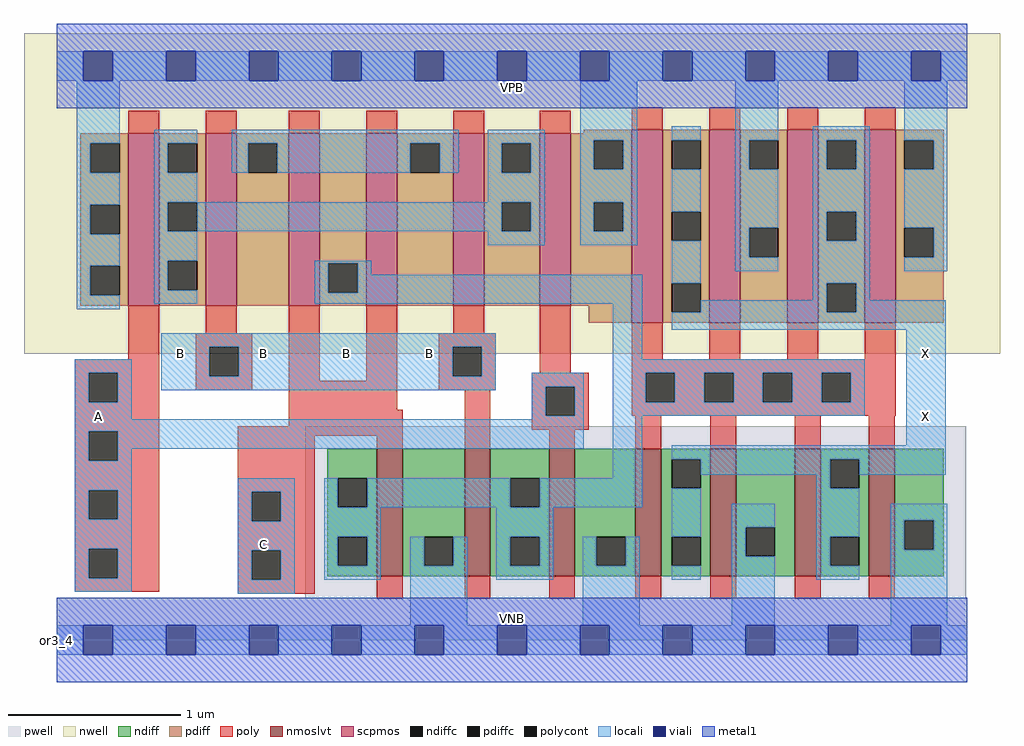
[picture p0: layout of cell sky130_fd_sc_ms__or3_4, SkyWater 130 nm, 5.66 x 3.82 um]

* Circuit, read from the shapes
.subckt sky130_fd_sc_ms__or3_4 A B C VGND VNB VPB VPWR X
XM1 VGND C n1 VNB sky130_fd_pr__nfet_01v8_lvt w=0.74 l=0.15
XM2 n1 B VGND VNB sky130_fd_pr__nfet_01v8_lvt w=0.74 l=0.15
XM3 VGND A n1 VNB sky130_fd_pr__nfet_01v8_lvt w=0.74 l=0.15
XM4 X n1 VGND VNB sky130_fd_pr__nfet_01v8_lvt w=0.74 l=0.15 m=4
XM5 n2 A VPWR VPB sky130_fd_pr__pfet_01v8 w=1 l=0.18 m=2
XM6 n3 B n2 VPB sky130_fd_pr__pfet_01v8 w=1 l=0.18 m=2
XM7 n1 C n3 VPB sky130_fd_pr__pfet_01v8 w=1 l=0.18 m=2
XM8 X n1 VPWR VPB sky130_fd_pr__pfet_01v8 w=1.12 l=0.18 m=4
.ends

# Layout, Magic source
magic
tech sky130A
magscale 1 2
<< nwell >>
rect -38 332 1094 704
<< pwell >>
rect 288 49 1055 248
rect 0 0 1056 49
<< scpmos >>
rect 83 388 119 588
rect 173 388 209 588
rect 269 388 305 588
rect 359 388 395 588
rect 460 388 496 588
rect 560 388 596 588
rect 667 368 703 592
rect 757 368 793 592
rect 847 368 883 592
rect 937 368 973 592
<< nmoslvt >>
rect 371 74 401 222
rect 473 74 503 222
rect 571 74 601 222
rect 671 74 701 222
rect 758 74 788 222
rect 856 74 886 222
rect 942 74 972 222
<< ndiff >>
rect 314 188 371 222
rect 314 154 326 188
rect 360 154 371 188
rect 314 120 371 154
rect 314 86 326 120
rect 360 86 371 120
rect 314 74 371 86
rect 401 120 473 222
rect 401 86 426 120
rect 460 86 473 120
rect 401 74 473 86
rect 503 188 571 222
rect 503 154 526 188
rect 560 154 571 188
rect 503 120 571 154
rect 503 86 526 120
rect 560 86 571 120
rect 503 74 571 86
rect 601 120 671 222
rect 601 86 626 120
rect 660 86 671 120
rect 601 74 671 86
rect 701 210 758 222
rect 701 176 713 210
rect 747 176 758 210
rect 701 120 758 176
rect 701 86 713 120
rect 747 86 758 120
rect 701 74 758 86
rect 788 131 856 222
rect 788 97 799 131
rect 833 97 856 131
rect 788 74 856 97
rect 886 210 942 222
rect 886 176 897 210
rect 931 176 942 210
rect 886 120 942 176
rect 886 86 897 120
rect 931 86 942 120
rect 886 74 942 86
rect 972 139 1029 222
rect 972 105 983 139
rect 1017 105 1029 139
rect 972 74 1029 105
<< pdiff >>
rect 611 588 667 592
rect 27 576 83 588
rect 27 542 39 576
rect 73 542 83 576
rect 27 505 83 542
rect 27 471 39 505
rect 73 471 83 505
rect 27 434 83 471
rect 27 400 39 434
rect 73 400 83 434
rect 27 388 83 400
rect 119 576 173 588
rect 119 542 129 576
rect 163 542 173 576
rect 119 508 173 542
rect 119 474 129 508
rect 163 474 173 508
rect 119 440 173 474
rect 119 406 129 440
rect 163 406 173 440
rect 119 388 173 406
rect 209 576 269 588
rect 209 542 222 576
rect 256 542 269 576
rect 209 388 269 542
rect 305 437 359 588
rect 305 403 315 437
rect 349 403 359 437
rect 305 388 359 403
rect 395 576 460 588
rect 395 542 410 576
rect 444 542 460 576
rect 395 388 460 542
rect 496 576 560 588
rect 496 542 516 576
rect 550 542 560 576
rect 496 508 560 542
rect 496 474 516 508
rect 550 474 560 508
rect 496 388 560 474
rect 596 580 667 588
rect 596 546 623 580
rect 657 546 667 580
rect 596 508 667 546
rect 596 474 623 508
rect 657 474 667 508
rect 596 388 667 474
rect 617 368 667 388
rect 703 580 757 592
rect 703 546 713 580
rect 747 546 757 580
rect 703 497 757 546
rect 703 463 713 497
rect 747 463 757 497
rect 703 414 757 463
rect 703 380 713 414
rect 747 380 757 414
rect 703 368 757 380
rect 793 580 847 592
rect 793 546 803 580
rect 837 546 847 580
rect 793 478 847 546
rect 793 444 803 478
rect 837 444 847 478
rect 793 368 847 444
rect 883 580 937 592
rect 883 546 893 580
rect 927 546 937 580
rect 883 497 937 546
rect 883 463 893 497
rect 927 463 937 497
rect 883 414 937 463
rect 883 380 893 414
rect 927 380 937 414
rect 883 368 937 380
rect 973 580 1029 592
rect 973 546 983 580
rect 1017 546 1029 580
rect 973 478 1029 546
rect 973 444 983 478
rect 1017 444 1029 478
rect 973 368 1029 444
<< ndiffc >>
rect 326 154 360 188
rect 326 86 360 120
rect 426 86 460 120
rect 526 154 560 188
rect 526 86 560 120
rect 626 86 660 120
rect 713 176 747 210
rect 713 86 747 120
rect 799 97 833 131
rect 897 176 931 210
rect 897 86 931 120
rect 983 105 1017 139
<< pdiffc >>
rect 39 542 73 576
rect 39 471 73 505
rect 39 400 73 434
rect 129 542 163 576
rect 129 474 163 508
rect 129 406 163 440
rect 222 542 256 576
rect 315 403 349 437
rect 410 542 444 576
rect 516 542 550 576
rect 516 474 550 508
rect 623 546 657 580
rect 623 474 657 508
rect 713 546 747 580
rect 713 463 747 497
rect 713 380 747 414
rect 803 546 837 580
rect 803 444 837 478
rect 893 546 927 580
rect 893 463 927 497
rect 893 380 927 414
rect 983 546 1017 580
rect 983 444 1017 478
<< poly >>
rect 83 588 119 614
rect 173 588 209 614
rect 269 588 305 614
rect 359 588 395 614
rect 460 588 496 614
rect 560 588 596 614
rect 667 592 703 618
rect 757 592 793 618
rect 847 592 883 618
rect 937 592 973 618
rect 83 326 119 388
rect 173 356 209 388
rect 21 310 119 326
rect 21 276 37 310
rect 71 276 119 310
rect 161 340 227 356
rect 161 306 177 340
rect 211 306 227 340
rect 161 290 227 306
rect 269 301 305 388
rect 359 301 395 388
rect 460 356 496 388
rect 21 242 119 276
rect 269 267 395 301
rect 443 340 509 356
rect 443 306 459 340
rect 493 306 509 340
rect 560 310 596 388
rect 667 326 703 368
rect 757 326 793 368
rect 847 326 883 368
rect 937 326 973 368
rect 667 310 973 326
rect 443 290 509 306
rect 551 294 617 310
rect 269 248 401 267
rect 21 208 37 242
rect 71 208 119 242
rect 21 174 119 208
rect 21 140 37 174
rect 71 140 119 174
rect 21 106 119 140
rect 21 72 37 106
rect 71 72 119 106
rect 21 56 119 72
rect 210 237 401 248
rect 210 172 299 237
rect 371 222 401 237
rect 473 222 503 290
rect 551 260 567 294
rect 601 260 617 294
rect 667 276 683 310
rect 717 276 751 310
rect 785 276 819 310
rect 853 276 887 310
rect 921 276 973 310
rect 667 260 973 276
rect 551 244 617 260
rect 571 222 601 244
rect 671 222 701 260
rect 758 222 788 260
rect 856 222 886 260
rect 942 222 972 260
rect 210 138 226 172
rect 260 138 299 172
rect 210 104 299 138
rect 210 70 226 104
rect 260 70 299 104
rect 210 54 299 70
rect 371 48 401 74
rect 473 48 503 74
rect 571 48 601 74
rect 671 48 701 74
rect 758 48 788 74
rect 856 48 886 74
rect 942 48 972 74
<< polycont >>
rect 37 276 71 310
rect 177 306 211 340
rect 459 306 493 340
rect 37 208 71 242
rect 37 140 71 174
rect 37 72 71 106
rect 567 260 601 294
rect 683 276 717 310
rect 751 276 785 310
rect 819 276 853 310
rect 887 276 921 310
rect 226 138 260 172
rect 226 70 260 104
<< locali >>
rect 0 649 31 683
rect 65 649 127 683
rect 161 649 223 683
rect 257 649 319 683
rect 353 649 415 683
rect 449 649 511 683
rect 545 649 607 683
rect 641 649 703 683
rect 737 649 799 683
rect 833 649 895 683
rect 929 649 991 683
rect 1025 649 1056 683
rect 23 576 73 649
rect 23 542 39 576
rect 23 505 73 542
rect 23 471 39 505
rect 23 434 73 471
rect 23 400 39 434
rect 23 384 73 400
rect 113 576 163 592
rect 113 542 129 576
rect 203 576 466 592
rect 203 542 222 576
rect 256 542 410 576
rect 444 542 466 576
rect 500 576 566 592
rect 500 542 516 576
rect 550 542 566 576
rect 113 508 163 542
rect 500 508 566 542
rect 113 474 129 508
rect 163 474 516 508
rect 550 474 566 508
rect 113 440 163 474
rect 500 458 566 474
rect 607 580 673 649
rect 607 546 623 580
rect 657 546 673 580
rect 607 508 673 546
rect 607 474 623 508
rect 657 474 673 508
rect 607 458 673 474
rect 713 580 747 596
rect 713 497 747 546
rect 113 406 129 440
rect 113 390 163 406
rect 299 437 365 440
rect 299 403 315 437
rect 349 424 365 437
rect 349 403 679 424
rect 299 390 679 403
rect 121 340 509 356
rect 21 310 87 326
rect 21 276 37 310
rect 71 276 87 310
rect 121 306 177 340
rect 211 306 459 340
rect 493 306 509 340
rect 645 326 679 390
rect 713 414 747 463
rect 787 580 837 649
rect 787 546 803 580
rect 787 478 837 546
rect 787 444 803 478
rect 787 428 837 444
rect 877 580 943 596
rect 877 546 893 580
rect 927 546 943 580
rect 877 497 943 546
rect 877 463 893 497
rect 927 463 943 497
rect 877 414 943 463
rect 983 580 1033 649
rect 1017 546 1033 580
rect 983 478 1033 546
rect 1017 444 1033 478
rect 983 428 1033 444
rect 877 394 893 414
rect 747 380 893 394
rect 927 394 943 414
rect 927 380 1031 394
rect 713 360 1031 380
rect 645 310 937 326
rect 121 290 509 306
rect 551 294 611 310
rect 21 256 87 276
rect 551 260 567 294
rect 601 260 611 294
rect 551 256 611 260
rect 21 242 611 256
rect 21 208 37 242
rect 71 222 611 242
rect 645 276 683 310
rect 717 276 751 310
rect 785 276 819 310
rect 853 276 887 310
rect 921 276 937 310
rect 645 260 937 276
rect 71 208 87 222
rect 21 174 87 208
rect 645 188 679 260
rect 985 226 1031 360
rect 21 140 37 174
rect 71 140 87 174
rect 21 106 87 140
rect 21 72 37 106
rect 71 72 87 106
rect 21 56 87 72
rect 210 172 276 188
rect 210 138 226 172
rect 260 138 276 172
rect 210 104 276 138
rect 210 70 226 104
rect 260 70 276 104
rect 310 154 326 188
rect 360 154 526 188
rect 560 154 679 188
rect 713 210 1031 226
rect 747 192 897 210
rect 310 120 376 154
rect 510 120 576 154
rect 713 120 747 176
rect 881 176 897 192
rect 931 192 1031 210
rect 310 86 326 120
rect 360 86 376 120
rect 310 70 376 86
rect 410 86 426 120
rect 460 86 476 120
rect 210 54 276 70
rect 410 17 476 86
rect 510 86 526 120
rect 560 86 576 120
rect 510 70 576 86
rect 610 86 626 120
rect 660 86 676 120
rect 610 17 676 86
rect 713 70 747 86
rect 783 131 833 158
rect 783 97 799 131
rect 783 17 833 97
rect 881 120 931 176
rect 881 86 897 120
rect 881 70 931 86
rect 967 139 1033 158
rect 967 105 983 139
rect 1017 105 1033 139
rect 967 17 1033 105
rect 0 -17 31 17
rect 65 -17 127 17
rect 161 -17 223 17
rect 257 -17 319 17
rect 353 -17 415 17
rect 449 -17 511 17
rect 545 -17 607 17
rect 641 -17 703 17
rect 737 -17 799 17
rect 833 -17 895 17
rect 929 -17 991 17
rect 1025 -17 1056 17
<< viali >>
rect 31 649 65 683
rect 127 649 161 683
rect 223 649 257 683
rect 319 649 353 683
rect 415 649 449 683
rect 511 649 545 683
rect 607 649 641 683
rect 703 649 737 683
rect 799 649 833 683
rect 895 649 929 683
rect 991 649 1025 683
rect 31 -17 65 17
rect 127 -17 161 17
rect 223 -17 257 17
rect 319 -17 353 17
rect 415 -17 449 17
rect 511 -17 545 17
rect 607 -17 641 17
rect 703 -17 737 17
rect 799 -17 833 17
rect 895 -17 929 17
rect 991 -17 1025 17
<< metal1 >>
rect 0 683 1056 715
rect 0 649 31 683
rect 65 649 127 683
rect 161 649 223 683
rect 257 649 319 683
rect 353 649 415 683
rect 449 649 511 683
rect 545 649 607 683
rect 641 649 703 683
rect 737 649 799 683
rect 833 649 895 683
rect 929 649 991 683
rect 1025 649 1056 683
rect 0 617 1056 649
rect 0 17 1056 49
rect 0 -17 31 17
rect 65 -17 127 17
rect 161 -17 223 17
rect 257 -17 319 17
rect 353 -17 415 17
rect 449 -17 511 17
rect 545 -17 607 17
rect 641 -17 703 17
rect 737 -17 799 17
rect 833 -17 895 17
rect 929 -17 991 17
rect 1025 -17 1056 17
rect 0 -49 1056 -17
<< labels >>
flabel pwell s 0 0 1056 49 0 FreeSans 200 0 0 0 VNB
port 5 nsew ground bidirectional
flabel nwell s 0 617 1056 666 0 FreeSans 200 0 0 0 VPB
port 6 nsew power bidirectional
rlabel comment s 0 0 0 0 4 or3_4
flabel metal1 s 0 617 1056 666 0 FreeSans 340 0 0 0 VPWR
port 7 nsew power bidirectional
flabel metal1 s 0 0 1056 49 0 FreeSans 340 0 0 0 VGND
port 4 nsew ground bidirectional
flabel locali s 127 316 161 350 0 FreeSans 340 0 0 0 B
port 2 nsew signal input
flabel locali s 223 316 257 350 0 FreeSans 340 0 0 0 B
port 2 nsew signal input
flabel locali s 319 316 353 350 0 FreeSans 340 0 0 0 B
port 2 nsew signal input
flabel locali s 415 316 449 350 0 FreeSans 340 0 0 0 B
port 2 nsew signal input
flabel locali s 31 242 65 276 0 FreeSans 340 0 0 0 A
port 1 nsew signal input
flabel locali s 223 94 257 128 0 FreeSans 340 0 0 0 C
port 3 nsew signal input
flabel locali s 991 242 1025 276 0 FreeSans 340 0 0 0 X
port 8 nsew signal output
flabel locali s 991 316 1025 350 0 FreeSans 340 0 0 0 X
port 8 nsew signal output
<< properties >>
string LEFsite unit
string LEFclass CORE
string FIXED_BBOX 0 0 1056 666
string GDS_FILE $PDKPATH/libs.ref/sky130_fd_sc_ms/gds/sky130_fd_sc_ms.gds
string LEFsymmetry X Y
string GDS_END 2028882
string GDS_START 2019766
<< end >>
